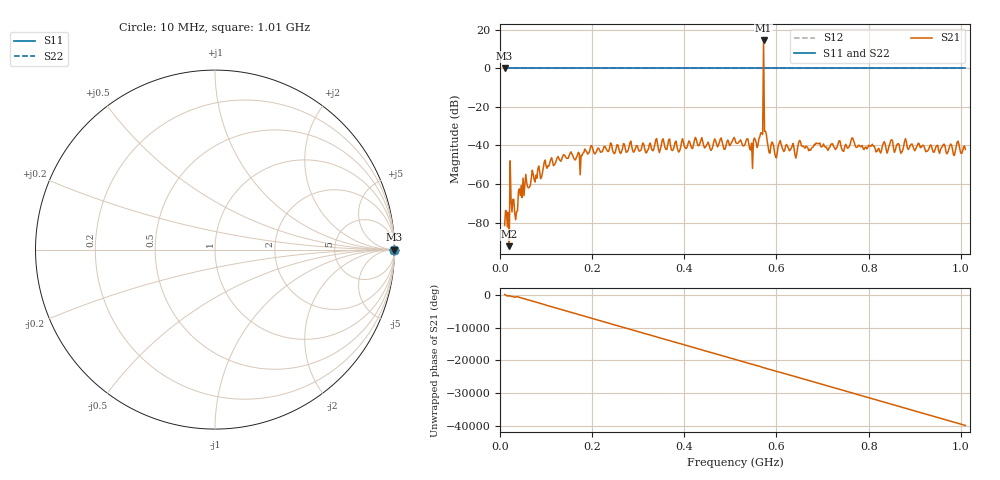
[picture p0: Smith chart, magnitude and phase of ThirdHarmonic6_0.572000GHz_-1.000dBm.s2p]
! 8/15/2025 6:23:58 PM
! C:\ANRITSUVNA\TEMP\TEMP.S2P
! CHANNEL.1
! TR.MEASUREMENT
! RAW.DATA
! RF.CORRECTION.OFF
! AVERAGING.OFF
! IF.BANDWIDTH: 5KHZ
! SWEEPTYPE:  FREQ.SWEEP(Linear)
! Reference Plane Port Info
! PORT:  PORT1  PORT2
! DISTANCE:  0  m  0  m
! TIME:  0  s  0  s
! PHASE.OFFSET:  0  deg.  0  deg.
! LOSS:  0  dB  0  dB
! REF.LOSS:  0  dB  0  dB
! REF.FREQ:  0  Hz  0  Hz
! Power Info
! POWER:  -20  dBm  -20  dBm
! EFF.POWER:  -20  dBm  -20  dBm
! SOURCE.ATTEN:  0  dB  0  dB
! TEST.ATTEN:  0  dB  0  dB
# GHZ S RI R 50.0
! FREQ.GHZ  S11RE  S11IM  S21RE  S21IM  S12RE  S12IM  S22RE  S22IM
!; PortSelection: Port_12
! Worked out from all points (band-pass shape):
!   501 points, 10 MHz to 1.01 GHz, reference 50 ohm
!   highest |S21| = 14.37 dB at 572 MHz (marker M1); lowest = -92.2 dB at 20 MHz (marker M2)
!   |S21| within 3 dB of the highest: 571.8768 MHz to 572.1275 MHz (250.7 kHz wide, 0.0438 % of centre)
!   lowest |S11| = 0.0 dB at 10 MHz (marker M3)
!   |S11| at or under -10 dB: nowhere
!   |S22| runs from 0.0 to 0.0 dB; largest |S21 - S12| = 4.5
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0.01  1 0  1.68e-05 8.28e-05  1 0  1 0
0.02  1 0  2.34e-05 -7.4e-06  1 0  1 0
0.026  1 0  -0.000189 -6.7e-06  1 0  1 0
0.034  1 0  9.7e-05 6.79e-05  1 0  1 0
0.054  1 0  -0.000865 -0.000491  1 0  1 0
0.098  1 0  -0.00417 0.000337  1 0  1 0
0.178  1 0  -0.00536 0.000842  1 0  1 0
0.198  1 0  0.00331 0.00939  1 0  1 0
0.344  1 0  0.00151 -0.00767  1 0  1 0
0.51  1 0  0.00507 0.0134  1 0  1 0
0.536  1 0  -0.00502 0.0139  1 0  1 0
0.544  1 0  -0.00548 0.00526  1 0  1 0
0.566  1 0  0.0211 -0.00207  1 0  1 0
0.568  1 0  -0.00424 -0.0204  1 0  1 0
0.572  1 0  3.917 3.462  1 0  1 0
0.576  1 0  -0.00154 -0.0233  1 0  1 0
0.578  1 0  -0.0189 0.00451  1 0  1 0
0.598  1 0  -0.00128 0.00489  1 0  1 0
0.608  1 0  0.00201 0.0132  1 0  1 0
0.678  1 0  -0.00847 0.0027  1 0  1 0
0.844  1 0  0.00637 -0.00679  1 0  1 0
1.01  1 0  0.00425 0.00658  1 0  1 0
